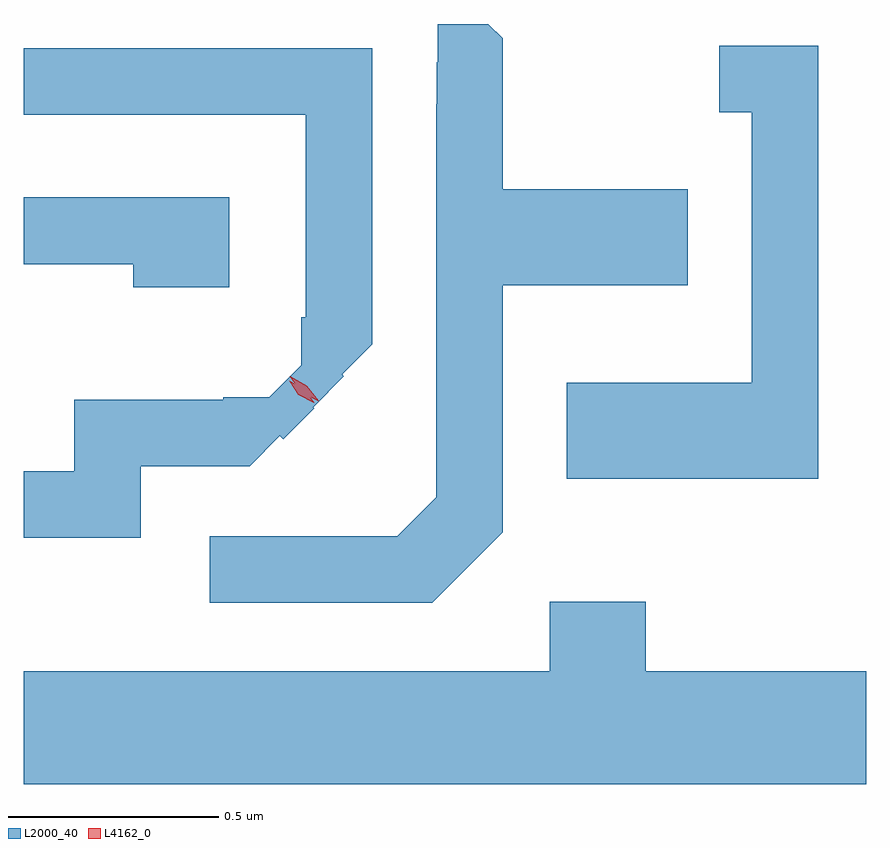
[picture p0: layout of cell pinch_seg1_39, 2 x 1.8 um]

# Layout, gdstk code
import gdstk
lib = gdstk.Library(unit=1e-6, precision=1e-09)
def P(c, l, *ps):  # polygons
    for p in ps: c.add(gdstk.Polygon(p, *l))
L2000_40 = (2000, 40)
L4162_0 = (4162, 0)

pinch_seg1_39 = lib.new_cell('pinch_seg1_39')
P(pinch_seg1_39, L2000_40, [(1102.539,922.374),(1102.539,922.961),(1102.979,922.961),(1102.979,923.189),(1102.539,923.189),(1102.539,923.547),(1102.505,923.581),(1102.385,923.581),(1102.385,923.49),(1102.382,923.49),(1102.382,923.39),(1102.381,923.39),(1102.381,922.457),(1102.289,922.364),(1101.843,922.364),(1101.843,922.206),(1102.372,922.206)],
  [(1103.289,923.529),(1103.053,923.529),(1103.053,923.371),(1103.131,923.371),(1103.131,922.729),(1102.691,922.729),(1102.691,922.501),(1103.289,922.501)],
  [(1101.679,922.531),(1101.938,922.531),(1102.01,922.603),(1102.018,922.595),(1102.092,922.669),(1102.089,922.671),(1102.162,922.745),(1102.158,922.749),(1102.229,922.82),(1102.229,923.524),(1101.402,923.524),(1101.402,923.366),(1102.071,923.366),(1102.071,922.885),(1102.06,922.885),(1102.06,922.77),(1101.984,922.694),(1101.875,922.694),(1101.875,922.689),(1101.521,922.689),(1101.521,922.519),(1101.402,922.519),(1101.402,922.361),(1101.679,922.361)],
  [(1101.889,923.169),(1101.402,923.169),(1101.402,923.011),(1101.661,923.011),(1101.661,922.956),(1101.889,922.956)],
  [(1103.402,922.044),(1102.879,922.044),(1102.879,922.209),(1102.651,922.209),(1102.651,922.044),(1101.402,922.044),(1101.402,921.776),(1103.402,921.776)])
P(pinch_seg1_39, L4162_0, [(1102.09,922.681),(1102.054,922.7),(1102.032,922.734),(1102.032,922.734),(1102.032,922.734),(1102.068,922.715),(1102.091,922.681),(1102.091,922.681)],
  [(1102.102,922.685),(1102.061,922.707),(1102.033,922.744),(1102.033,922.745),(1102.034,922.745),(1102.074,922.722),(1102.102,922.686),(1102.102,922.685)])

lib.write_gds('pinch_seg1_39.gds')
